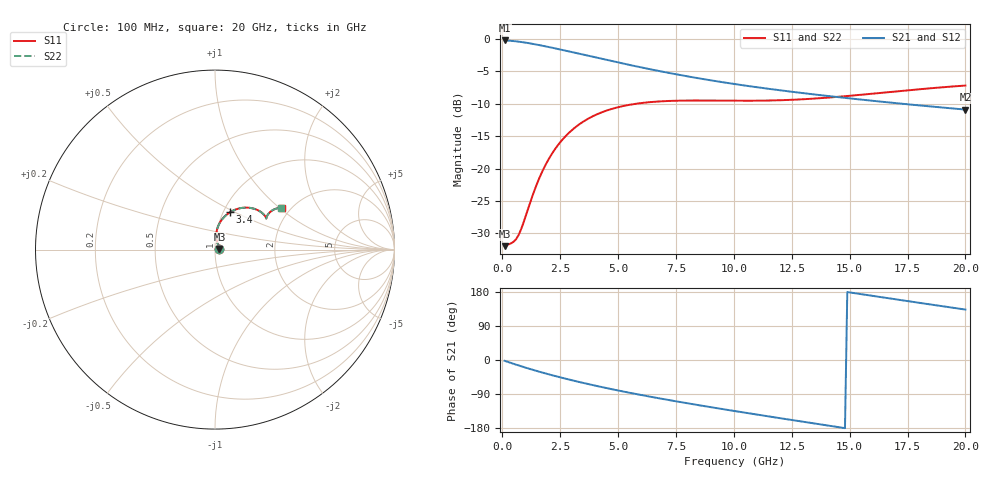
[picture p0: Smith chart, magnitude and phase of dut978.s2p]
! Touchstone file exported from HFSS 2024.1.0
!  File:  C:/UserFiles/LocalFiles/RDL_TSV_Batchsim/temp_RDL_TSV_978_1779972828.aedt
!  Generated:  09:07:24 PM May 28, 2026
!  Design:  RDL_TSV
!  Project:  temp_RDL_TSV_978_1779972828
!  Setup:  Setup1
!  Solution:  Sweep
! Variables:
!  dtsv = 14.72um
!  hbump = 3um
!  htsv = 64.98um
!  ldown = 331.79um
!  lrdl = 542.69um
!  p = 40
!  p1 = 52.94um
!  rhole = 10um
!  subl = 3166.13um
!  t = 450um
!  tdown = 2.27um
!  trdl = 3.43um
!  viad = 10um
!  wdown = 23.69um
!  wrdl = 11.77um
!  xbump = 18um
# GHz S MA R 50.000000
! Terminal data exported
! Port[1] = TM1_1_T1
! Port[2] = TM1_4_T1
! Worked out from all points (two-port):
!   200 points, 100 MHz to 20 GHz, reference 50 ohm
!   highest |S21| = -0.23 dB at 100 MHz (marker M1); lowest = -10.9 dB at 20 GHz (marker M2)
!   |S21| within 3 dB of the highest: start of sweep to 4.509 GHz
!   lowest |S11| = -32.0 dB at 100 MHz (marker M3), VSWR 1.05, Z = 52.6 + j0.356 ohm
!   |S11| at or under -10 dB: start of sweep to 5.755 GHz
!   |S22| runs from -32.0 to -7.2 dB; largest |S21 - S12| = 3.6e-14
!   S11 on the Smith chart (normalised r, x): 100 MHz: 1.05, +0.01; 3.4 GHz: 1.08, +0.47; 20 GHz: 1.80, +1.03
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0.1  0.02524 7.7  0.9744 -2.1  0.9744 -2.1  0.02524 7.7
! Gamma 0 0 0 0
! Port Impedance 50 0 50 0
0.5  0.02739 37.0  0.9634 -10.3  0.9634 -10.3  0.0274 37.0
0.7  0.03068 53.6  0.9544 -14.3  0.9544 -14.3  0.03068 53.6
0.9  0.03759 67.9  0.9437 -18.2  0.9437 -18.2  0.03759 67.9
1.2  0.0545 80.5  0.9251 -23.8  0.9251 -23.8  0.05448 80.5
1.7  0.09279 85.3  0.8899 -32.7  0.8899 -32.7  0.09275 85.3
2.1  0.1265 83.0  0.8602 -39.4  0.8602 -39.4  0.1265 83.0
2.5  0.1596 78.8  0.8303 -45.7  0.8303 -45.7  0.1596 78.8
2.9  0.1905 74.1  0.8007 -51.9  0.8007 -51.9  0.1904 74.1
3.4  0.2246 68.1  0.7646 -59.2  0.7646 -59.2  0.2245 68.1
3.5  0.2307 66.9  0.7575 -60.6  0.7575 -60.6  0.2306 66.9
4.2  0.2677 59.2  0.7098 -70.2  0.7098 -70.2  0.2676 59.2
5.1  0.3007 50.9  0.6536 -81.7  0.6536 -81.7  0.3006 50.9
5.9  0.3189 44.9  0.609 -91.3  0.609 -91.3  0.3188 44.9
6.8  0.3301 39.6  0.5648 -101.4  0.5648 -101.4  0.33 39.6
8.4  0.3355 33.7  0.5003 -118.4  0.5003 -118.4  0.3354 33.7
10.1  0.3341 31.3  0.4475 -135.3  0.4475 -135.3  0.334 31.3
11.7  0.3358 31.5  0.4085 -150.7  0.4085 -150.7  0.3357 31.5
13.4  0.3463 32.9  0.3748 -166.8  0.3748 -166.8  0.3462 32.9
15  0.3646 34.1  0.3483 178.4  0.3483 178.4  0.3644 34.1
16.7  0.3895 34.4  0.324 162.7  0.324 162.7  0.3894 34.4
20  0.4374 32.1  0.2855 133.1  0.2855 133.1  0.4372 32.1
